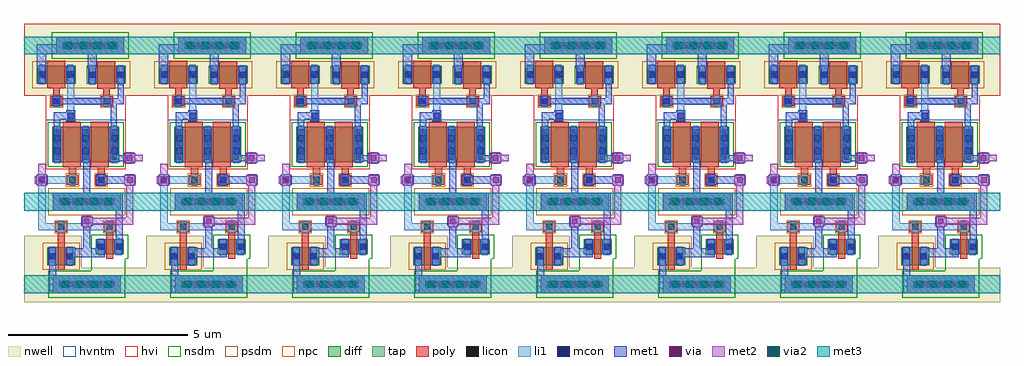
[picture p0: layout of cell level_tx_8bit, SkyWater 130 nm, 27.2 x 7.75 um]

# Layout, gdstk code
import gdstk
lib = gdstk.Library(unit=1e-6, precision=1e-09)
def R(c, l, rs):  # rectangles x0, y0, x1, y1
    for r in rs: c.add(gdstk.rectangle(r[:2], r[2:], *l))
def A(c, l, x, y, w, h, nx, ny, dx, dy):  # array of equal rectangles
    R(c, l, [(x+i*dx, y+j*dy, x+i*dx+w, y+j*dy+h) for i in range(nx) for j in range(ny)])
nwell = (64, 20)
diff = (65, 20)
tap = (65, 44)
poly = (66, 20)
licon = (66, 44)
li1 = (67, 20)
mcon = (67, 44)
met1 = (68, 20)
via = (68, 44)
met2 = (69, 20)
via2 = (69, 44)
met3 = (70, 20)
hvi = (75, 20)
nsdm = (93, 44)
psdm = (94, 20)
npc = (95, 20)
hvntm = (125, 20)

level_tx_1bit = lib.new_cell('level_tx_1bit')
R(level_tx_1bit, nwell, [(-7.9,2.35,-4.5,3.3), (-7.9,3.3,-6.295,4.185), (-7.9,4.185,-6.3,4.2), (-7.9,8.1,-4.5,10.1)])
R(level_tx_1bit, diff, [(-7.255,3.375,-6.475,3.875), (-5.9,3.68,-5.12,4.1), (-7.115,6.24,-5.245,7.24), (-6.145,8.43,-5.065,8.93), (-7.54,8.44,-6.46,8.94)])
R(level_tx_1bit, tap, [(-7.1,2.6,-5.2,3.1), (-7.1,4.9,-5.2,5.4), (-7,9.25,-5.1,9.75)])
R(level_tx_1bit, poly, [(-6.965,3.245,-6.765,4.315), (-5.61,3.55,-5.41,4.315), (-7.03,4.315,-6.7,4.585), (-5.675,4.315,-5.345,4.585), (-6.715,5.615,-6.385,5.885), (-5.915,5.615,-5.585,5.885), (-6.65,5.885,-6.45,6.11), (-5.85,5.885,-5.65,6.11), (-6.825,6.11,-6.325,7.37), (-6.035,6.11,-5.535,7.37), (-7.16,7.81,-6.83,8.08), (-5.76,7.81,-5.43,8.08), (-7.085,8.08,-6.91,8.31), (-5.69,8.08,-5.505,8.3), (-5.855,8.3,-5.355,9.06), (-7.25,8.31,-6.75,9.07)])
A(level_tx_1bit, licon, -6.915, 2.765, 0.17, 0.17, 5, 2, 0.34, 2.3)
A(level_tx_1bit, licon, -7.055, 6.315, 0.17, 0.17, 3, 3, 0.79, 0.34)
A(level_tx_1bit, licon, -6.815, 9.415, 0.17, 0.17, 5, 1, 0.34, 0)
R(level_tx_1bit, licon, [(-7.195,3.54,-7.025,3.71), (-6.705,3.54,-6.535,3.71), (-5.84,3.805,-5.67,3.975), (-5.35,3.805,-5.18,3.975), (-6.95,4.365,-6.78,4.535), (-5.595,4.365,-5.425,4.535), (-6.635,5.665,-6.465,5.835), (-5.835,5.665,-5.665,5.835), (-7.08,7.86,-6.91,8.03), (-5.68,7.86,-5.51,8.03), (-6.085,8.595,-5.915,8.765), (-5.295,8.595,-5.125,8.765), (-7.48,8.605,-7.31,8.775), (-6.69,8.605,-6.52,8.775)])
A(level_tx_1bit, li1, -7.055, 6.22, 0.17, 1.04, 3, 1, 0.79, 0)
R(level_tx_1bit, li1, [(-7.1,2.6,-5.2,3.1), (-7.195,3.355,-7.025,3.895), (-6.705,3.355,-6.535,3.895), (-5.84,3.66,-5.67,4.12), (-5.35,3.66,-5.18,4.12), (-6.95,4.285,-6.78,4.35), (-5.595,4.285,-5.425,4.35), (-7.5,4.35,-5.41,4.55), (-7.5,4.55,-7.3,5.65), (-6.95,4.55,-6.78,4.615), (-5.595,4.55,-5.425,4.615), (-7.1,4.9,-5.2,5.4), (-6.635,5.585,-6.465,5.65), (-5.835,5.585,-5.665,5.65), (-7.5,5.65,-6.45,5.85), (-5.85,5.65,-5.65,5.85), (-6.635,5.85,-6.465,5.915), (-5.835,5.85,-5.665,5.915), (-6.69,7.45,-6.505,7.855), (-7.08,7.78,-6.91,7.86), (-5.68,7.78,-5.51,7.855), (-6.69,7.855,-5.5,8.04), (-7.08,7.86,-6.905,8.035), (-7.08,8.035,-6.91,8.11), (-6.69,8.04,-6.505,8.69), (-5.68,8.04,-5.51,8.11), (-6.085,8.41,-5.915,8.95), (-5.295,8.41,-5.125,8.95), (-7.48,8.42,-7.31,8.96), (-6.69,8.69,-6.52,8.96), (-7,9.25,-5.1,9.75)])
A(level_tx_1bit, mcon, -6.775, 2.765, 0.17, 0.17, 4, 2, 0.36, 2.3)
A(level_tx_1bit, mcon, -7.055, 6.475, 0.17, 0.17, 3, 2, 0.79, 0.36)
A(level_tx_1bit, mcon, -6.675, 9.415, 0.17, 0.17, 4, 1, 0.36, 0)
R(level_tx_1bit, mcon, [(-7.195,3.54,-7.025,3.71), (-6.705,3.54,-6.535,3.71), (-5.84,3.805,-5.67,3.975), (-5.35,3.805,-5.18,3.975), (-7.485,5.665,-7.315,5.835), (-5.835,5.665,-5.665,5.835), (-6.685,7.455,-6.515,7.625), (-7.08,7.86,-6.91,8.03), (-6.085,8.595,-5.915,8.765), (-5.295,8.595,-5.125,8.765), (-7.48,8.605,-7.31,8.775), (-6.69,8.605,-6.52,8.775)])
R(level_tx_1bit, met1, [(-7.2,2.6,-5.2,3.1), (-7.2,3.1,-7,3.375), (-7.225,3.375,-6.995,3.875), (-6.735,3.375,-6.505,3.6), (-6.735,3.6,-5.65,3.68), (-6.735,3.68,-5.64,3.85), (-5.38,3.68,-5.15,4.1), (-6.735,3.85,-6.505,3.875), (-6.25,3.85,-6.05,4.47), (-5.87,3.85,-5.64,4.1), (-5.35,4.1,-5.15,4.9), (-6.31,4.47,-5.99,4.73), (-7.1,4.9,-5.15,5.4), (-6.255,5.4,-6.06,6.24), (-7.53,5.59,-7.27,5.62), (-5.88,5.59,-5.62,5.65), (-5.08,5.59,-4.82,5.65), (-7.56,5.62,-7.24,5.88), (-5.88,5.65,-4.82,5.85), (-5.88,5.85,-5.62,5.91), (-5.08,5.85,-4.82,5.91), (-7.53,5.88,-7.27,5.91), (-5.12,6.23,-4.8,6.27), (-7.085,6.24,-6.855,7.24), (-6.295,6.24,-6.06,6.335), (-5.505,6.24,-5.275,6.27), (-5.505,6.27,-4.8,6.445), (-6.295,6.335,-6.065,7.24), (-5.505,6.445,-5.275,7.24), (-5.12,6.445,-4.8,6.49), (-7.075,7.24,-6.89,7.45), (-5.485,7.24,-5.31,7.86), (-6.72,7.39,-6.475,7.45), (-7.075,7.45,-6.475,7.635), (-6.72,7.635,-6.475,7.695), (-7.11,7.8,-6.875,7.86), (-7.11,7.86,-5.115,8.035), (-7.11,8.035,-6.875,8.095), (-5.29,8.035,-5.115,8.43), (-6.115,8.43,-5.885,8.875), (-5.325,8.43,-5.095,8.93), (-7.51,8.44,-7.28,8.88), (-6.72,8.44,-6.49,8.94), (-6.13,8.875,-5.87,9.25), (-7.54,8.88,-7.28,9.27), (-7,9.25,-5.1,9.27), (-7.54,9.27,-5.1,9.53), (-7,9.53,-5.1,9.75)])
A(level_tx_1bit, via, -6.865, 2.775, 0.15, 0.15, 5, 2, 0.32, 2.3)
A(level_tx_1bit, via, -6.765, 9.425, 0.15, 0.15, 5, 1, 0.32, 0)
R(level_tx_1bit, via, [(-6.225,4.525,-6.075,4.675), (-7.475,5.675,-7.325,5.825), (-5.025,5.675,-4.875,5.825), (-5.035,6.285,-4.885,6.435)])
R(level_tx_1bit, met2, [(-7.1,2.6,-5.2,3.1), (-6.28,4.44,-6.02,4.5), (-6.28,4.5,-4.85,4.7), (-6.28,4.7,-6.02,4.76), (-5.05,4.7,-4.85,5.62), (-7.1,4.9,-5.2,5.4), (-7.53,5.59,-7.27,5.65), (-5.11,5.62,-4.79,5.65), (-7.6,5.65,-7.27,5.85), (-5.11,5.65,-4.78,5.85), (-7.53,5.85,-7.27,5.91), (-5.11,5.85,-4.79,5.88), (-7.5,5.91,-7.3,6.2), (-5.09,6.2,-4.83,6.275), (-5.09,6.275,-4.59,6.45), (-5.09,6.45,-4.83,6.52), (-7,9.25,-5.1,9.75)])
A(level_tx_1bit, via2, -6.85, 2.75, 0.2, 0.2, 4, 2, 0.4, 2.3)
A(level_tx_1bit, via2, -6.75, 9.4, 0.2, 0.2, 4, 1, 0.4, 0)
R(level_tx_1bit, met3, [(-7.9,2.6,-4.5,3.1), (-7.9,4.9,-4.5,5.4), (-7.9,9.25,-4.5,9.75)])
R(level_tx_1bit, hvi, [(-7.3,6.055,-5.06,8.1), (-7.9,8.1,-4.5,10.1)])
R(level_tx_1bit, nsdm, [(-7.225,2.475,-5.075,3.225), (-6.025,3.225,-5.075,3.555), (-6.025,3.555,-4.995,4.225), (-7.24,6.115,-5.12,7.365), (-7.125,9.125,-4.975,9.875)])
R(level_tx_1bit, psdm, [(-7.38,3.25,-6.35,4), (-7.225,4.775,-5.075,5.525), (-6.27,8.305,-4.94,8.315), (-7.665,8.315,-4.94,9.055), (-7.665,9.055,-6.335,9.065)])
R(level_tx_1bit, npc, [(-7.05,4.265,-6.68,4.635), (-5.695,4.265,-5.325,4.635), (-6.735,5.565,-6.365,5.935), (-5.935,5.565,-5.565,5.935), (-7.18,7.76,-6.81,8.13), (-5.78,7.76,-5.41,8.13)])
R(level_tx_1bit, hvntm, [(-7.3,6.055,-5.06,7.425)])
level_tx_1bit.add(gdstk.Label('VCCD', (-7.7,2.85), layer=70, texttype=5))
level_tx_1bit.add(gdstk.Label('VSSD', (-7.7,5.15), layer=70, texttype=5))
level_tx_1bit.add(gdstk.Label('VDDA', (-7.75,9.55), layer=70, texttype=5))
level_tx_1bit.add(gdstk.Label('VIN', (-7.4,6.1), layer=69, texttype=5))
level_tx_1bit.add(gdstk.Label('VOUT', (-4.68,6.35), layer=69, texttype=5))

level_tx_8bit = lib.new_cell('level_tx_8bit')
r = gdstk.Reference(level_tx_1bit, (8,-2.15)); r.repetition = gdstk.Repetition(8, 1, v1=(3.4,0), v2=(0,7.75)); level_tx_8bit.add(r)

lib.write_gds('level_tx_8bit.gds')
